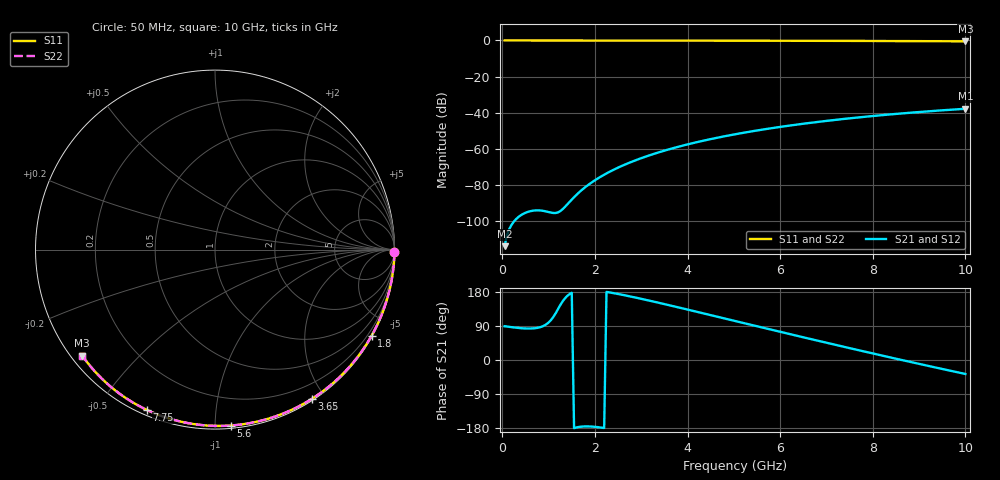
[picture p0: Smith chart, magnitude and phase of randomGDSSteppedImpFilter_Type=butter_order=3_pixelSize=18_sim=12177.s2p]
! freq	dB(S11)	phase(S11)	dB(S12)	phase(S12)
!  dB(S21)	phase(S21)	dB(S22)	phase(S22)
!S-par simulation data
#  GHz  S  DB  R 50
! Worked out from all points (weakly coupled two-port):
!   200 points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, 50 MHz to 10 GHz, reference 50 ohm
!   highest |S21| = -37.83 dB at 10 GHz (marker M1); lowest = -113.9 dB at 50 MHz (marker M2)
!   lowest |S11| = -0.5 dB at 10 GHz (marker M3), VSWR 36.36, Z = 1.54 - j17.5 ohm
!   |S11| at or under -10 dB: nowhere
!   |S22| runs from -0.5 to 0.0 dB; largest |S21 - S12| = 0
!   S11 on the Smith chart (normalised r, x): 50 MHz: open; 1.8 GHz: 0.03, -3.89; 3.65 GHz: 0.02, -1.84; 5.6 GHz: 0.02, -1.10; 7.75 GHz: 0.02, -0.66; 10 GHz: 0.03, -0.35
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0.05  -0.00 -0.8  -113.90 89.1  -113.90 89.1  -0.00 -0.8
0.45  -0.01 -7.3  -96.03 83.5  -96.03 83.5  -0.01 -7.3
0.9  -0.02 -14.6  -94.42 90.5  -94.42 90.5  -0.02 -14.6
1.75  -0.04 -28.1  -82.08 -175.4  -82.08 -175.4  -0.04 -28.1
1.8  -0.04 -28.9  -81.05 -175.2  -81.05 -175.2  -0.04 -28.9
1.85  -0.04 -29.6  -80.08 -175.2  -80.08 -175.2  -0.04 -29.6
2.15  -0.04 -34.3  -75.04 -178.5  -75.04 -178.5  -0.04 -34.3
2.35  -0.05 -37.4  -72.26 177.6  -72.26 177.6  -0.05 -37.4
2.55  -0.05 -40.5  -69.82 173.1  -69.82 173.1  -0.05 -40.5
2.95  -0.06 -46.6  -65.65 162.8  -65.65 162.8  -0.06 -46.6
3.4  -0.07 -53.4  -61.78 150.4  -61.78 150.4  -0.07 -53.4
3.65  -0.08 -57.1  -59.91 143.3  -59.91 143.3  -0.08 -57.1
4.3  -0.09 -66.6  -55.73 124.3  -55.73 124.3  -0.09 -66.6
5.05  -0.12 -77.2  -51.83 102.3  -51.83 102.3  -0.12 -77.2
5.6  -0.14 -84.8  -49.43 86.1  -49.43 86.1  -0.14 -84.8
6.15  -0.16 -92.2  -47.32 70.0  -47.32 70.0  -0.16 -92.2
6.7  -0.19 -99.5  -45.46 54.1  -45.46 54.1  -0.19 -99.5
7.2  -0.22 -106.0  -43.95 39.8  -43.95 39.8  -0.22 -106.0
7.75  -0.26 -113.1  -42.46 24.3  -42.46 24.3  -0.26 -113.0
8.35  -0.31 -120.7  -41.01 7.6  -41.01 7.6  -0.31 -120.7
9.2  -0.39 -131.3  -39.23 -15.6  -39.23 -15.6  -0.39 -131.3
10  -0.48 -141.4  -37.83 -36.9  -37.83 -36.9  -0.48 -141.4
